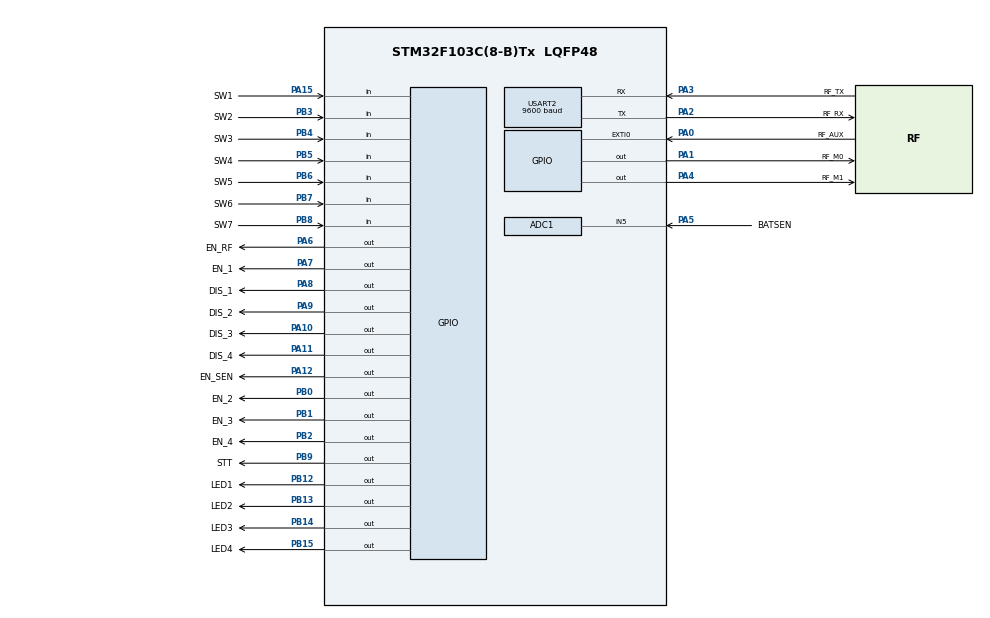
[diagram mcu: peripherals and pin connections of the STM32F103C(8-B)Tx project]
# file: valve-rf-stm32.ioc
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ADC1.Channel-0\#ChannelRegularConversion=ADC_CHANNEL_5
ADC1.ContinuousConvMode=ENABLE
ADC1.NbrOfConversionFlag=1
ADC1.Rank-0\#ChannelRegularConversion=1
ADC1.SamplingTime-0\#ChannelRegularConversion=ADC_SAMPLETIME_239CYCLES_5
ADC1.master=1
Dma.ADC1.0.Direction=DMA_PERIPH_TO_MEMORY
Dma.ADC1.0.Instance=DMA1_Channel1
Dma.ADC1.0.MemDataAlignment=DMA_MDATAALIGN_HALFWORD
Dma.ADC1.0.MemInc=DMA_MINC_ENABLE
Dma.ADC1.0.Mode=DMA_CIRCULAR
Dma.ADC1.0.PeriphDataAlignment=DMA_PDATAALIGN_HALFWORD
Dma.ADC1.0.PeriphInc=DMA_PINC_DISABLE
Dma.ADC1.0.Priority=DMA_PRIORITY_LOW
Dma.Request0=ADC1
Dma.Request1=USART2_RX
Dma.Request2=TIM2_UP
Dma.TIM2_UP.2.Direction=DMA_PERIPH_TO_MEMORY
Dma.TIM2_UP.2.Instance=DMA1_Channel2
Dma.TIM2_UP.2.MemDataAlignment=DMA_MDATAALIGN_HALFWORD
Dma.TIM2_UP.2.MemInc=DMA_MINC_ENABLE
Dma.TIM2_UP.2.Mode=DMA_CIRCULAR
Dma.TIM2_UP.2.PeriphDataAlignment=DMA_PDATAALIGN_HALFWORD
Dma.TIM2_UP.2.PeriphInc=DMA_PINC_DISABLE
Dma.TIM2_UP.2.Priority=DMA_PRIORITY_LOW
Dma.USART2_RX.1.Direction=DMA_PERIPH_TO_MEMORY
Dma.USART2_RX.1.Instance=DMA1_Channel6
Dma.USART2_RX.1.MemDataAlignment=DMA_MDATAALIGN_BYTE
Dma.USART2_RX.1.MemInc=DMA_MINC_ENABLE
Dma.USART2_RX.1.Mode=DMA_NORMAL
Dma.USART2_RX.1.PeriphDataAlignment=DMA_PDATAALIGN_BYTE
Dma.USART2_RX.1.PeriphInc=DMA_PINC_DISABLE
Dma.USART2_RX.1.Priority=DMA_PRIORITY_LOW
Mcu.Family=STM32F1
Mcu.Name=STM32F103C(8-B)Tx
Mcu.Package=LQFP48
NVIC.ADC1_2_IRQn=true\:0\:0\:false\:false\:true\:true\:true
NVIC.DMA1_Channel1_IRQn=true\:0\:0\:false\:false\:true\:false\:true
NVIC.DMA1_Channel2_IRQn=true\:0\:0\:false\:false\:true\:false\:true
NVIC.DMA1_Channel6_IRQn=true\:0\:0\:false\:false\:true\:false\:true
NVIC.EXTI0_IRQn=true\:0\:0\:false\:false\:true\:true\:true
NVIC.PriorityGroup=NVIC_PRIORITYGROUP_4
NVIC.TIM2_IRQn=true\:0\:0\:false\:false\:true\:true\:true
NVIC.USART2_IRQn=true\:0\:0\:false\:false\:true\:true\:true
PA0-WKUP.GPIO_Label=RF_AUX
PA0-WKUP.GPIO_ModeDefaultEXTI=GPIO_MODE_IT_FALLING
PA0-WKUP.GPIO_PuPd=GPIO_PULLUP
PA0-WKUP.Signal=GPXTI0
PA1.GPIO_Label=RF_M0
PA1.Signal=GPIO_Output
PA10.GPIO_Label=DIS_3
PA10.Signal=GPIO_Output
PA11.GPIO_Label=DIS_4
PA11.Signal=GPIO_Output
PA12.GPIO_Label=EN_SEN
PA12.Signal=GPIO_Output
PA13.Mode=Serial_Wire
PA13.Signal=SYS_JTMS-SWDIO
PA14.Mode=Serial_Wire
PA14.Signal=SYS_JTCK-SWCLK
PA15.GPIO_Label=SW1
PA15.GPIO_PuPd=GPIO_NOPULL
PA15.Signal=GPIO_Input
PA2.GPIO_Label=RF_RX
PA2.Mode=Asynchronous
PA2.Signal=USART2_TX
PA3.GPIO_Label=RF_TX
PA3.Mode=Asynchronous
PA3.Signal=USART2_RX
PA4.GPIO_Label=RF_M1
PA4.Signal=GPIO_Output
PA5.GPIO_Label=BATSEN
PA5.Signal=ADCx_IN5
PA6.GPIO_Label=EN_RF
PA6.Signal=GPIO_Output
PA7.GPIO_Label=EN_1
PA7.Signal=GPIO_Output
PA8.GPIO_Label=DIS_1
PA8.Signal=GPIO_Output
PA9.GPIO_Label=DIS_2
PA9.GPIO_ModeDefaultOutputPP=GPIO_MODE_OUTPUT_PP
PA9.Signal=GPIO_Output
PB0.GPIO_Label=EN_2
PB0.Signal=GPIO_Output
PB1.GPIO_Label=EN_3
PB1.Signal=GPIO_Output
PB12.GPIO_Label=LED1
PB12.Signal=GPIO_Output
PB13.GPIO_Label=LED2
PB13.Signal=GPIO_Output
PB14.GPIO_Label=LED3
PB14.Signal=GPIO_Output
PB15.GPIO_Label=LED4
PB15.Signal=GPIO_Output
PB2.GPIO_Label=EN_4
PB2.Signal=GPIO_Output
PB3.GPIO_Label=SW2
PB3.GPIO_PuPd=GPIO_NOPULL
PB3.Signal=GPIO_Input
PB4.GPIO_Label=SW3
PB4.GPIO_PuPd=GPIO_NOPULL
PB4.Signal=GPIO_Input
PB5.GPIO_Label=SW4
PB5.GPIO_PuPd=GPIO_NOPULL
PB5.Signal=GPIO_Input
PB6.GPIO_Label=SW5
PB6.GPIO_PuPd=GPIO_NOPULL
PB6.Signal=GPIO_Input
PB7.GPIO_Label=SW6
PB7.GPIO_PuPd=GPIO_NOPULL
PB7.Signal=GPIO_Input
PB8.GPIO_Label=SW7
PB8.Signal=GPIO_Input
PB9.GPIO_Label=STT
PB9.Signal=GPIO_Output
ProjectManager.HeapSize=0x200
ProjectManager.StackSize=0x400
ProjectManager.TargetToolchain=MDK-ARM V5.32
RCC.AHBFreq_Value=8000000
RCC.APB1Freq_Value=8000000
RCC.APB1TimFreq_Value=8000000
RCC.APB2Freq_Value=8000000
RCC.APB2TimFreq_Value=8000000
RCC.HCLKFreq_Value=8000000
SH.ADCx_IN5.0=ADC1_IN5,IN5
TIM2.Period=99
TIM2.Prescaler=7999
USART2.BaudRate=9600
USART2.VirtualMode=VM_ASYNC
VP_TIM2_VS_ClockSourceINT.Mode=Internal
board=custom

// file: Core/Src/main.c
/* USER CODE BEGIN Header */
/**
  ******************************************************************************
  * @file           : main.c
  * @brief          : Main program body
  ******************************************************************************
  * @attention
  *
  * <h2><center>&copy; Copyright (c) 2022 STMicroelectronics.
  * All rights reserved.</center></h2>
  *
  * This software component is licensed by ST under BSD 3-Clause license,
  * the "License"; You may not use this file except in compliance with the
  * License. You may obtain a copy of the License at:
  *                        opensource.org/licenses/BSD-3-Clause
  *
  ******************************************************************************
  */
/* USER CODE END Header */
#include "main.h"

/* USER CODE BEGIN Includes */
#include "process_valve.h"
#include "setup_address.h"
#include "lora_e32.h"
#include "control_valve.h"
#include "battery.h"
/* USER CODE END Includes */

ADC_HandleTypeDef hadc1;
DMA_HandleTypeDef hdma_adc1;

TIM_HandleTypeDef htim2;
DMA_HandleTypeDef hdma_tim2_up;

UART_HandleTypeDef huart2;
DMA_HandleTypeDef hdma_usart2_rx;

/* USER CODE BEGIN PV */
static uint16_t u16_timer_couter = 0; // step = 0.1s
static uint16_t u16_adc_value = 0;

static bool b_rx2_availabe = false;
static uint8_t u8_rx2_size = 0;
static uint8_t au8_rx2_data[LEN_BUF_DATA] = {0};
static uint8_t au8_dma_buf[LEN_BUF_DATA] = {0};
/* USER CODE END PV */

void SystemClock_Config(void);
static void MX_GPIO_Init(void);
static void MX_DMA_Init(void);
static void MX_ADC1_Init(void);
static void MX_USART2_UART_Init(void);
static void MX_TIM2_Init(void);
/* USER CODE BEGIN PFP */
// Function call back

void HAL_UARTEx_RxEventCallback(UART_HandleTypeDef *huart, uint16_t Size)
{
  if (huart->Instance == USART2)
	{
		HAL_GPIO_TogglePin(LED1_GPIO_Port, LED1_Pin);
		HAL_GPIO_TogglePin(LED2_GPIO_Port, LED2_Pin);
		HAL_GPIO_TogglePin(LED3_GPIO_Port, LED3_Pin);
		HAL_GPIO_TogglePin(LED4_GPIO_Port, LED4_Pin);
		u8_rx2_size = (uint8_t)(Size & 0xFF);
		memcpy(au8_rx2_data, au8_dma_buf, u8_rx2_size);
		b_rx2_availabe = true;
		/* clear buffer DMA */
		memset(au8_dma_buf, 0, LEN_BUF_DATA);
		/* start the DMA again */
		HAL_UARTEx_ReceiveToIdle_DMA(&huart2, au8_dma_buf, LEN_BUF_DATA);
		__HAL_DMA_DISABLE_IT(&hdma_usart2_rx, DMA_IT_HT);
	}
}

void HAL_GPIO_EXTI_Callback(uint16_t GPIO_Pin)
{
	if (GPIO_Pin == RF_AUX_Pin)
	{
		// coding...
	}
}

void HAL_TIM_PeriodElapsedCallback(TIM_HandleTypeDef* htim)
{
	u16_timer_couter++;
}

// Function to use------------------------

void mcu_sleep(void)
{
	// Off other IT, Keep UART IT & GPIO IT
	HAL_SuspendTick();
	HAL_ADC_Stop_DMA(&hadc1);
	HAL_TIM_Base_Stop_IT(&htim2);
	// Go to sleep
	HAL_PWR_EnterSLEEPMode(PWR_MAINREGULATOR_ON, PWR_SLEEPENTRY_WFI);
	// On again
	HAL_ResumeTick();
	HAL_ADC_Start_DMA(&hadc1,(uint32_t*) &u16_adc_value, 1);
	HAL_TIM_Base_Start_IT(&htim2);
	v_timer_reset_couter();
}

bool uart2_available(void)
{
	bool b_check = b_rx2_availabe;
	b_rx2_availabe = false;
	return b_check;
}

uint8_t uart2_get_data(uint8_t *pData)
{
	memcpy(pData, au8_rx2_data, u8_rx2_size);
	return u8_rx2_size;
}

void uart2_transmit(uint8_t *pData, uint16_t Size)
{
	HAL_UART_Transmit(&huart2, pData, Size, 1000);
}

uint16_t u16_timer_get_couter(void)
{
	return u16_timer_couter;
}

void v_timer_reset_couter(void)
{
	u16_timer_couter = 0;
}

uint16_t u16_adc_get_value(void)
{
	return u16_adc_value;
}
/* USER CODE END PFP */

/* USER CODE BEGIN 0 */

uint8_t package[3] = {0xAA, 0xBB, 0xCC};

/* USER CODE END 0 */

int main(void)
{

  /* MCU Configuration--------------------------------------------------------*/

  /* Reset of all peripherals, Initializes the Flash interface and the Systick. */
  HAL_Init();

  /* Configure the system clock */
  SystemClock_Config();

  /* Initialize all configured peripherals */
  MX_GPIO_Init();
  MX_DMA_Init();
  MX_ADC1_Init();
  MX_USART2_UART_Init();
  MX_TIM2_Init();
  /* USER CODE BEGIN 2 */
	// Start power RF after reset
	HAL_GPIO_WritePin(EN_RF_GPIO_Port, EN_RF_Pin, GPIO_PIN_SET);
	HAL_GPIO_WritePin(STT_GPIO_Port, STT_Pin, GPIO_PIN_SET);
	// adc
	HAL_ADC_Start_DMA(&hadc1,(uint32_t*) &u16_adc_value, 1);
	// uart2
	HAL_UARTEx_ReceiveToIdle_DMA(&huart2, au8_dma_buf, LEN_BUF_DATA);
	__HAL_DMA_DISABLE_IT(&hdma_usart2_rx, DMA_IT_HT);
	// timer
	HAL_TIM_Base_Start_IT(&htim2);
  /* USER CODE END 2 */

  /* Infinite loop */
  /* USER CODE BEGIN WHILE */
	/*
	u8_address_setup();
	b_lora_save_parameter(SAVE_PERMANENT,
												u8_address_get_high(),
												u8_address_get_low(),
												u8_lora_set_sped(PB_8N1, UDR_9600, ADR_1200),
												u8_address_get_chan(),
												u8_lora_set_option(FM_ENABLE, IO_PUSH_PULL, WAKEUP_250, FEC_ENABLE, OPT_TP20)
												);
	*/
	b_lora_save_parameter(0xC2, 0x01, 0x01, 0x19, 0x06, 0xC4);
	HAL_GPIO_WritePin(STT_GPIO_Port, STT_Pin, GPIO_PIN_RESET);
  while (1)
  {
    /* USER CODE END WHILE */

    /* USER CODE BEGIN 3 */
		v_process_loop();

  }
  /* USER CODE END 3 */
}

void SystemClock_Config(void)
{
  RCC_OscInitTypeDef RCC_OscInitStruct = {0};
  RCC_ClkInitTypeDef RCC_ClkInitStruct = {0};
  RCC_PeriphCLKInitTypeDef PeriphClkInit = {0};

  /** Initializes the RCC Oscillators according to the specified parameters
  * in the RCC_OscInitTypeDef structure.
  */
  RCC_OscInitStruct.OscillatorType = RCC_OSCILLATORTYPE_HSI;
  RCC_OscInitStruct.HSIState = RCC_HSI_ON;
  RCC_OscInitStruct.HSICalibrationValue = RCC_HSICALIBRATION_DEFAULT;
  RCC_OscInitStruct.PLL.PLLState = RCC_PLL_NONE;
  if (HAL_RCC_OscConfig(&RCC_OscInitStruct) != HAL_OK)
  {
    Error_Handler();
  }
  /** Initializes the CPU, AHB and APB buses clocks
  */
  RCC_ClkInitStruct.ClockType = RCC_CLOCKTYPE_HCLK|RCC_CLOCKTYPE_SYSCLK
                              |RCC_CLOCKTYPE_PCLK1|RCC_CLOCKTYPE_PCLK2;
  RCC_ClkInitStruct.SYSCLKSource = RCC_SYSCLKSOURCE_HSI;
  RCC_ClkInitStruct.AHBCLKDivider = RCC_SYSCLK_DIV1;
  RCC_ClkInitStruct.APB1CLKDivider = RCC_HCLK_DIV1;
  RCC_ClkInitStruct.APB2CLKDivider = RCC_HCLK_DIV1;

  if (HAL_RCC_ClockConfig(&RCC_ClkInitStruct, FLASH_LATENCY_0) != HAL_OK)
  {
    Error_Handler();
  }
  PeriphClkInit.PeriphClockSelection = RCC_PERIPHCLK_ADC;
  PeriphClkInit.AdcClockSelection = RCC_ADCPCLK2_DIV2;
  if (HAL_RCCEx_PeriphCLKConfig(&PeriphClkInit) != HAL_OK)
  {
    Error_Handler();
  }
}

static void MX_ADC1_Init(void)
{

  ADC_ChannelConfTypeDef sConfig = {0};

  /** Common config
  */
  hadc1.Instance = ADC1;
  hadc1.Init.ScanConvMode = ADC_SCAN_DISABLE;
  hadc1.Init.ContinuousConvMode = ENABLE;
  hadc1.Init.DiscontinuousConvMode = DISABLE;
  hadc1.Init.ExternalTrigConv = ADC_SOFTWARE_START;
  hadc1.Init.DataAlign = ADC_DATAALIGN_RIGHT;
  hadc1.Init.NbrOfConversion = 1;
  if (HAL_ADC_Init(&hadc1) != HAL_OK)
  {
    Error_Handler();
  }
  /** Configure Regular Channel
  */
  sConfig.Channel = ADC_CHANNEL_5;
  sConfig.Rank = ADC_REGULAR_RANK_1;
  sConfig.SamplingTime = ADC_SAMPLETIME_239CYCLES_5;
  if (HAL_ADC_ConfigChannel(&hadc1, &sConfig) != HAL_OK)
  {
    Error_Handler();
  }

}

static void MX_TIM2_Init(void)
{

  TIM_ClockConfigTypeDef sClockSourceConfig = {0};
  TIM_MasterConfigTypeDef sMasterConfig = {0};

  htim2.Instance = TIM2;
  htim2.Init.Prescaler = 7999;
  htim2.Init.CounterMode = TIM_COUNTERMODE_UP;
  htim2.Init.Period = 99;
  htim2.Init.ClockDivision = TIM_CLOCKDIVISION_DIV1;
  htim2.Init.AutoReloadPreload = TIM_AUTORELOAD_PRELOAD_DISABLE;
  if (HAL_TIM_Base_Init(&htim2) != HAL_OK)
  {
    Error_Handler();
  }
  sClockSourceConfig.ClockSource = TIM_CLOCKSOURCE_INTERNAL;
  if (HAL_TIM_ConfigClockSource(&htim2, &sClockSourceConfig) != HAL_OK)
  {
    Error_Handler();
  }
  sMasterConfig.MasterOutputTrigger = TIM_TRGO_RESET;
  sMasterConfig.MasterSlaveMode = TIM_MASTERSLAVEMODE_DISABLE;
  if (HAL_TIMEx_MasterConfigSynchronization(&htim2, &sMasterConfig) != HAL_OK)
  {
    Error_Handler();
  }

}

static void MX_USART2_UART_Init(void)
{

  huart2.Instance = USART2;
  huart2.Init.BaudRate = 9600;
  huart2.Init.WordLength = UART_WORDLENGTH_8B;
  huart2.Init.StopBits = UART_STOPBITS_1;
  huart2.Init.Parity = UART_PARITY_NONE;
  huart2.Init.Mode = UART_MODE_TX_RX;
  huart2.Init.HwFlowCtl = UART_HWCONTROL_NONE;
  huart2.Init.OverSampling = UART_OVERSAMPLING_16;
  if (HAL_UART_Init(&huart2) != HAL_OK)
  {
    Error_Handler();
  }

}

static void MX_DMA_Init(void)
{

  /* DMA controller clock enable */
  __HAL_RCC_DMA1_CLK_ENABLE();

  /* DMA interrupt init */
  /* DMA1_Channel1_IRQn interrupt configuration */
  HAL_NVIC_SetPriority(DMA1_Channel1_IRQn, 0, 0);
  HAL_NVIC_EnableIRQ(DMA1_Channel1_IRQn);
  /* DMA1_Channel2_IRQn interrupt configuration */
  HAL_NVIC_SetPriority(DMA1_Channel2_IRQn, 0, 0);
  HAL_NVIC_EnableIRQ(DMA1_Channel2_IRQn);
  /* DMA1_Channel6_IRQn interrupt configuration */
  HAL_NVIC_SetPriority(DMA1_Channel6_IRQn, 0, 0);
  HAL_NVIC_EnableIRQ(DMA1_Channel6_IRQn);

}

static void MX_GPIO_Init(void)
{
  GPIO_InitTypeDef GPIO_InitStruct = {0};

  /* GPIO Ports Clock Enable */
  __HAL_RCC_GPIOA_CLK_ENABLE();
  __HAL_RCC_GPIOB_CLK_ENABLE();

  /*Configure GPIO pin Output Level */
  HAL_GPIO_WritePin(GPIOA, RF_M0_Pin|RF_M1_Pin|EN_RF_Pin|EN_1_Pin
                          |DIS_1_Pin|DIS_2_Pin|DIS_3_Pin|DIS_4_Pin
                          |EN_SEN_Pin, GPIO_PIN_RESET);

  /*Configure GPIO pin Output Level */
  HAL_GPIO_WritePin(GPIOB, EN_2_Pin|EN_3_Pin|EN_4_Pin|LED1_Pin
                          |LED2_Pin|LED3_Pin|LED4_Pin|STT_Pin, GPIO_PIN_RESET);

  /*Configure GPIO pin : RF_AUX_Pin */
  GPIO_InitStruct.Pin = RF_AUX_Pin;
  GPIO_InitStruct.Mode = GPIO_MODE_IT_FALLING;
  GPIO_InitStruct.Pull = GPIO_PULLUP;
  HAL_GPIO_Init(RF_AUX_GPIO_Port, &GPIO_InitStruct);

  /*Configure GPIO pins : RF_M0_Pin RF_M1_Pin EN_RF_Pin EN_1_Pin
                           DIS_1_Pin DIS_2_Pin DIS_3_Pin DIS_4_Pin
                           EN_SEN_Pin */
  GPIO_InitStruct.Pin = RF_M0_Pin|RF_M1_Pin|EN_RF_Pin|EN_1_Pin
                          |DIS_1_Pin|DIS_2_Pin|DIS_3_Pin|DIS_4_Pin
                          |EN_SEN_Pin;
  GPIO_InitStruct.Mode = GPIO_MODE_OUTPUT_PP;
  GPIO_InitStruct.Pull = GPIO_NOPULL;
  GPIO_InitStruct.Speed = GPIO_SPEED_FREQ_LOW;
  HAL_GPIO_Init(GPIOA, &GPIO_InitStruct);

  /*Configure GPIO pins : EN_2_Pin EN_3_Pin EN_4_Pin LED1_Pin
                           LED2_Pin LED3_Pin LED4_Pin STT_Pin */
  GPIO_InitStruct.Pin = EN_2_Pin|EN_3_Pin|EN_4_Pin|LED1_Pin
                          |LED2_Pin|LED3_Pin|LED4_Pin|STT_Pin;
  GPIO_InitStruct.Mode = GPIO_MODE_OUTPUT_PP;
  GPIO_InitStruct.Pull = GPIO_NOPULL;
  GPIO_InitStruct.Speed = GPIO_SPEED_FREQ_LOW;
  HAL_GPIO_Init(GPIOB, &GPIO_InitStruct);

  /*Configure GPIO pin : SW1_Pin */
  GPIO_InitStruct.Pin = SW1_Pin;
  GPIO_InitStruct.Mode = GPIO_MODE_INPUT;
  GPIO_InitStruct.Pull = GPIO_NOPULL;
  HAL_GPIO_Init(SW1_GPIO_Port, &GPIO_InitStruct);

  /*Configure GPIO pins : SW2_Pin SW3_Pin SW4_Pin SW5_Pin
                           SW6_Pin SW7_Pin */
  GPIO_InitStruct.Pin = SW2_Pin|SW3_Pin|SW4_Pin|SW5_Pin
                          |SW6_Pin|SW7_Pin;
  GPIO_InitStruct.Mode = GPIO_MODE_INPUT;
  GPIO_InitStruct.Pull = GPIO_NOPULL;
  HAL_GPIO_Init(GPIOB, &GPIO_InitStruct);

  /* EXTI interrupt init*/
  HAL_NVIC_SetPriority(EXTI0_IRQn, 0, 0);
  HAL_NVIC_EnableIRQ(EXTI0_IRQn);

}

void Error_Handler(void)
{
  __disable_irq();
  while (1)
  {
  }
}

/************************ (C) COPYRIGHT STMicroelectronics *****END OF FILE****/
